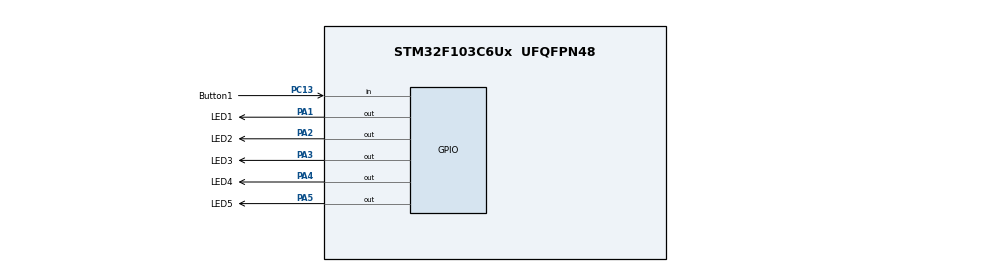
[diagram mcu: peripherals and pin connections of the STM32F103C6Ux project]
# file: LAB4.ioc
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Mcu.Family=STM32F1
Mcu.Name=STM32F103C6Ux
Mcu.Package=UFQFPN48
NVIC.PriorityGroup=NVIC_PRIORITYGROUP_4
NVIC.TIM2_IRQn=true\:0\:0\:false\:false\:true\:true\:true
PA1.GPIO_Label=LED1
PA1.Signal=GPIO_Output
PA2.GPIO_Label=LED2
PA2.Signal=GPIO_Output
PA3.GPIO_Label=LED3
PA3.Signal=GPIO_Output
PA4.GPIO_Label=LED4
PA4.Signal=GPIO_Output
PA5.GPIO_Label=LED5
PA5.Signal=GPIO_Output
PC13-TAMPER-RTC.GPIO_Label=Button1
PC13-TAMPER-RTC.GPIO_PuPd=GPIO_PULLUP
PC13-TAMPER-RTC.Signal=GPIO_Input
ProjectManager.HeapSize=0x200
ProjectManager.StackSize=0x400
ProjectManager.TargetToolchain=STM32CubeIDE
RCC.APB1Freq_Value=8000000
RCC.APB2Freq_Value=8000000
TIM2.Period=9
TIM2.Prescaler=7999
VP_SYS_VS_ND.Mode=No_Debug
VP_TIM2_VS_ClockSourceINT.Mode=Internal
board=custom

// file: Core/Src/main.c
/* USER CODE BEGIN Header */
/**
  ******************************************************************************
  * @file           : main.c
  * @brief          : Main program body
  ******************************************************************************
  * @attention
  *
  * <h2><center>&copy; Copyright (c) 2024 STMicroelectronics.
  * All rights reserved.</center></h2>
  *
  * This software component is licensed by ST under BSD 3-Clause license,
  * the "License"; You may not use this file except in compliance with the
  * License. You may obtain a copy of the License at:
  *                        opensource.org/licenses/BSD-3-Clause
  *
  ******************************************************************************
  */
/* USER CODE END Header */
#include "main.h"

/* USER CODE BEGIN Includes */
#include "scheduler.h"
#include "button.h"
/* USER CODE END Includes */

TIM_HandleTypeDef htim2;

void SystemClock_Config(void);
static void MX_TIM2_Init(void);
static void MX_GPIO_Init(void);

/* USER CODE BEGIN 0 */
void initState(){
	HAL_GPIO_WritePin(GPIOA, LED1_Pin | LED2_Pin | LED3_Pin | LED4_Pin | LED5_Pin, 1);
	setButton(0);
}
void LED1(){
	HAL_GPIO_TogglePin(LED1_GPIO_Port, LED1_Pin);
}
void LED2(){
	HAL_GPIO_TogglePin(LED2_GPIO_Port, LED2_Pin);
}
void LED3(){
	HAL_GPIO_TogglePin(LED3_GPIO_Port, LED3_Pin);
}
void LED4(){
	HAL_GPIO_TogglePin(LED4_GPIO_Port, LED4_Pin);
}
void LED5(){
	HAL_GPIO_TogglePin(LED5_GPIO_Port, LED5_Pin);
}
void LED_BUTTON(){
	if(isButtonPressed(0)){
//		  SCH_Add_Task(LED5, 2500, 0);
		  HAL_GPIO_TogglePin(LED5_GPIO_Port, LED5_Pin);
	}
}

/* USER CODE END 0 */

int main(void)
{

  /* MCU Configuration--------------------------------------------------------*/

  /* Reset of all peripherals, Initializes the Flash interface and the Systick. */
  HAL_Init();

  /* Configure the system clock */
  SystemClock_Config();

  /* Initialize all configured peripherals */
  MX_TIM2_Init();
  MX_GPIO_Init();
  /* USER CODE BEGIN 2 */
  HAL_TIM_Base_Start_IT(&htim2);
  /* USER CODE END 2 */

  /* Infinite loop */
  /* USER CODE BEGIN WHILE */
  initState();
  SCH_Init();
  SCH_Add_Task(LED1, 500 , 500);
  SCH_Add_Task(LED2, 1000, 1000);
  SCH_Add_Task(LED3, 1500, 1500);
  SCH_Add_Task(LED4, 2000, 2000);
//  SCH_Add_Task(LED5, 2500, 0);
  SCH_Add_Task(LED_BUTTON, 0, 10);
  SCH_Add_Task(getKeyInput, 0, 10);
  while (1)
  {
    /* USER CODE END WHILE */

    /* USER CODE BEGIN 3 */
	  SCH_Dispatch_Tasks();
  }
  /* USER CODE END 3 */
}

void SystemClock_Config(void)
{
  RCC_OscInitTypeDef RCC_OscInitStruct = {0};
  RCC_ClkInitTypeDef RCC_ClkInitStruct = {0};

  /** Initializes the RCC Oscillators according to the specified parameters
  * in the RCC_OscInitTypeDef structure.
  */
  RCC_OscInitStruct.OscillatorType = RCC_OSCILLATORTYPE_HSI;
  RCC_OscInitStruct.HSIState = RCC_HSI_ON;
  RCC_OscInitStruct.HSICalibrationValue = RCC_HSICALIBRATION_DEFAULT;
  RCC_OscInitStruct.PLL.PLLState = RCC_PLL_NONE;
  if (HAL_RCC_OscConfig(&RCC_OscInitStruct) != HAL_OK)
  {
    Error_Handler();
  }
  /** Initializes the CPU, AHB and APB buses clocks
  */
  RCC_ClkInitStruct.ClockType = RCC_CLOCKTYPE_HCLK|RCC_CLOCKTYPE_SYSCLK
                              |RCC_CLOCKTYPE_PCLK1|RCC_CLOCKTYPE_PCLK2;
  RCC_ClkInitStruct.SYSCLKSource = RCC_SYSCLKSOURCE_HSI;
  RCC_ClkInitStruct.AHBCLKDivider = RCC_SYSCLK_DIV1;
  RCC_ClkInitStruct.APB1CLKDivider = RCC_HCLK_DIV1;
  RCC_ClkInitStruct.APB2CLKDivider = RCC_HCLK_DIV1;

  if (HAL_RCC_ClockConfig(&RCC_ClkInitStruct, FLASH_LATENCY_0) != HAL_OK)
  {
    Error_Handler();
  }
}

static void MX_TIM2_Init(void)
{

  TIM_ClockConfigTypeDef sClockSourceConfig = {0};
  TIM_MasterConfigTypeDef sMasterConfig = {0};

  htim2.Instance = TIM2;
  htim2.Init.Prescaler = 7999;
  htim2.Init.CounterMode = TIM_COUNTERMODE_UP;
  htim2.Init.Period = 9;
  htim2.Init.ClockDivision = TIM_CLOCKDIVISION_DIV1;
  htim2.Init.AutoReloadPreload = TIM_AUTORELOAD_PRELOAD_DISABLE;
  if (HAL_TIM_Base_Init(&htim2) != HAL_OK)
  {
    Error_Handler();
  }
  sClockSourceConfig.ClockSource = TIM_CLOCKSOURCE_INTERNAL;
  if (HAL_TIM_ConfigClockSource(&htim2, &sClockSourceConfig) != HAL_OK)
  {
    Error_Handler();
  }
  sMasterConfig.MasterOutputTrigger = TIM_TRGO_RESET;
  sMasterConfig.MasterSlaveMode = TIM_MASTERSLAVEMODE_DISABLE;
  if (HAL_TIMEx_MasterConfigSynchronization(&htim2, &sMasterConfig) != HAL_OK)
  {
    Error_Handler();
  }

}

static void MX_GPIO_Init(void)
{
  GPIO_InitTypeDef GPIO_InitStruct = {0};

  /* GPIO Ports Clock Enable */
  __HAL_RCC_GPIOC_CLK_ENABLE();
  __HAL_RCC_GPIOA_CLK_ENABLE();

  /*Configure GPIO pin Output Level */
  HAL_GPIO_WritePin(GPIOA, LED1_Pin|LED2_Pin|LED3_Pin|LED4_Pin
                          |LED5_Pin, GPIO_PIN_RESET);

  /*Configure GPIO pin : Button1_Pin */
  GPIO_InitStruct.Pin = Button1_Pin;
  GPIO_InitStruct.Mode = GPIO_MODE_INPUT;
  GPIO_InitStruct.Pull = GPIO_PULLUP;
  HAL_GPIO_Init(Button1_GPIO_Port, &GPIO_InitStruct);

  /*Configure GPIO pins : LED1_Pin LED2_Pin LED3_Pin LED4_Pin
                           LED5_Pin */
  GPIO_InitStruct.Pin = LED1_Pin|LED2_Pin|LED3_Pin|LED4_Pin
                          |LED5_Pin;
  GPIO_InitStruct.Mode = GPIO_MODE_OUTPUT_PP;
  GPIO_InitStruct.Pull = GPIO_NOPULL;
  GPIO_InitStruct.Speed = GPIO_SPEED_FREQ_LOW;
  HAL_GPIO_Init(GPIOA, &GPIO_InitStruct);

}

/* USER CODE BEGIN 4 */
void HAL_TIM_PeriodElapsedCallback(TIM_HandleTypeDef *htim){
	SCH_Update();
}
/* USER CODE END 4 */

void Error_Handler(void)
{
  __disable_irq();
  while (1)
  {
  }
}

/************************ (C) COPYRIGHT STMicroelectronics *****END OF FILE****/
